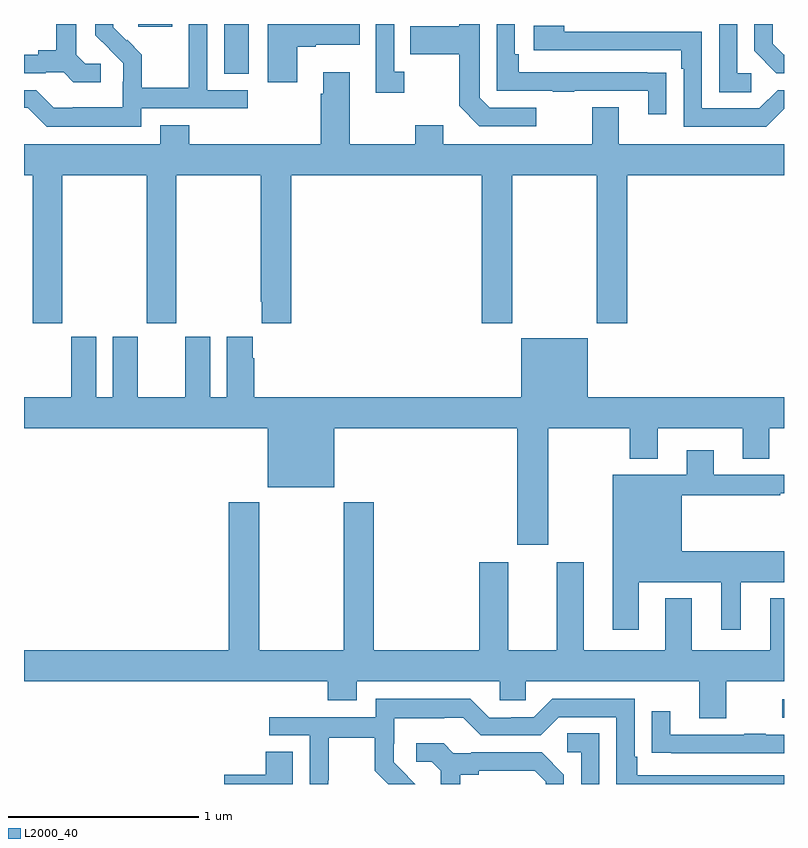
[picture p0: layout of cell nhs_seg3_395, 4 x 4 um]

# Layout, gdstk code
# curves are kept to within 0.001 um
import gdstk
lib = gdstk.Library(unit=1e-6, precision=1e-09)
def R(c, l, rs):  # rectangles x0, y0, x1, y1
    for r in rs: c.add(gdstk.rectangle(r[:2], r[2:], *l))
def P(c, l, *ps):  # polygons
    for p in ps: c.add(gdstk.Polygon(p, *l))
L2000_40 = (2000, 40)

nhs_seg3_395 = lib.new_cell('nhs_seg3_395')
R(nhs_seg3_395, L2000_40, [(134.991,676.749,135,676.845), (132.053,680.137,132.184,680.4), (131.6,680.385,131.779,680.4)])
P(nhs_seg3_395, L2000_40, [(132.439,680.279),(132.535,680.279),(132.535,680.291),(132.766,680.291),(132.766,680.4),(132.284,680.4),(132.284,680.094),(132.439,680.094)],
  [(134.827,680.142),(134.754,680.142),(134.754,680.4),(134.658,680.4),(134.658,680.041),(134.827,680.041)],
  [(131.404,680.19),(131.322,680.19),(131.275,680.237),(131.275,680.4),(131.171,680.4),(131.171,680.261),(131.075,680.261),(131.075,680.238),(131,680.238),(131,680.142),(131.114,680.142),(131.114,680.145),(131.208,680.145),(131.26,680.093),(131.404,680.093)],
  [(135,680.238),(134.998,680.238),(134.941,680.295),(134.941,680.4),(134.844,680.4),(134.844,680.258),(134.96,680.142),(135,680.142)],
  [(133,680.15),(132.948,680.15),(132.948,680.4),(132.852,680.4),(132.852,680.037),(133,680.037)],
  [(133.696,679.959),(133.452,679.959),(133.398,680.013),(133.398,680.4),(133.29,680.4),(133.29,680.389),(133.033,680.389),(133.033,680.242),(133.29,680.242),(133.29,679.969),(133.395,679.863),(133.696,679.863)],
  [(134.381,680.144),(134.279,680.144),(134.279,680.145),(133.604,680.145),(133.604,680.242),(133.584,680.242),(133.584,680.4),(133.488,680.4),(133.488,680.049),(133.783,680.049),(133.783,680.044),(133.895,680.044),(133.895,680.049),(134.285,680.049),(134.285,679.926),(134.381,679.926)],
  [(131.616,679.956),(132.178,679.956),(132.178,680.052),(131.964,680.052),(131.964,680.4),(131.868,680.4),(131.868,680.288),(131.866,680.288),(131.866,680.065),(131.621,680.065),(131.621,680.239),(131.544,680.316),(131.541,680.313),(131.471,680.384),(131.471,680.4),(131.376,680.4),(131.376,680.342),(131.522,680.194),(131.522,680.097),(131.52,680.097),(131.52,679.963),(131.257,679.963),(131.257,679.959),(131.157,679.959),(131.064,680.052),(131,680.052),(131,679.959),(131.019,679.959),(131.119,679.859),(131.616,679.859)],
  [(135,679.953),(135,680.052),(134.967,680.052),(134.871,679.956),(134.568,679.956),(134.568,680.358),(133.844,680.358),(133.844,680.392),(133.683,680.392),(133.683,680.262),(134.459,680.262),(134.459,680.165),(134.472,680.165),(134.472,679.86),(134.907,679.86)],
  [(131.202,679.604),(131.647,679.604),(131.647,678.825),(131.802,678.825),(131.802,679.604),(132.247,679.604),(132.247,678.937),(132.251,678.937),(132.251,678.825),(132.407,678.825),(132.407,679.604),(133.409,679.604),(133.409,678.825),(133.569,678.825),(133.569,679.604),(134.014,679.604),(134.014,678.825),(134.174,678.825),(134.174,679.604),(135,679.604),(135,679.768),(134.131,679.768),(134.131,679.963),(133.991,679.963),(133.991,679.768),(133.207,679.768),(133.207,679.867),(133.06,679.867),(133.06,679.768),(132.715,679.768),(132.715,680.146),(132.575,680.146),(132.575,680.033),(132.563,680.033),(132.563,679.768),(131.87,679.768),(131.87,679.867),(131.717,679.867),(131.717,679.768),(131,679.768),(131,679.604),(131.047,679.604),(131.047,678.825),(131.202,678.825)],
  [(133.759,678.272),(134.188,678.272),(134.188,678.113),(134.335,678.113),(134.335,678.272),(134.783,678.272),(134.783,678.112),(134.923,678.112),(134.923,678.272),(135,678.272),(135,678.436),(133.966,678.436),(133.966,678.745),(133.616,678.745),(133.616,678.436),(132.212,678.436),(132.212,678.641),(132.205,678.641),(132.205,678.754),(132.068,678.754),(132.068,678.436),(131.98,678.436),(131.98,678.754),(131.849,678.754),(131.849,678.436),(131.599,678.436),(131.599,678.754),(131.468,678.754),(131.468,678.436),(131.38,678.436),(131.38,678.754),(131.249,678.754),(131.249,678.436),(131,678.436),(131,678.272),(132.284,678.272),(132.284,677.963),(132.634,677.963),(132.634,678.272),(133.595,678.272),(133.595,677.658),(133.759,677.658)],
  [(134.236,677.462),(134.669,677.462),(134.669,677.211),(134.773,677.211),(134.773,677.462),(135,677.462),(135,677.626),(134.461,677.626),(134.461,677.919),(134.981,677.919),(134.981,677.931),(135,677.931),(135,678.027),(134.629,678.027),(134.629,678.157),(134.489,678.157),(134.489,678.028),(134.099,678.028),(134.099,677.211),(134.236,677.211)],
  [(134.695,676.94),(135,676.94),(135,677.377),(134.927,677.377),(134.927,677.104),(134.515,677.104),(134.515,677.377),(134.375,677.377),(134.375,677.104),(133.945,677.104),(133.945,677.566),(133.805,677.566),(133.805,677.104),(133.549,677.104),(133.549,677.566),(133.397,677.566),(133.397,677.104),(132.842,677.104),(132.842,677.884),(132.682,677.884),(132.682,677.104),(132.237,677.104),(132.237,677.884),(132.077,677.884),(132.077,677.104),(131,677.104),(131,676.94),(132.599,676.94),(132.599,676.841),(132.751,676.841),(132.751,676.94),(133.503,676.94),(133.503,676.842),(133.641,676.842),(133.641,676.94),(134.555,676.94),(134.555,676.746),(134.695,676.746)],
  [(132.6,676.42),(132.603,676.42),(132.603,676.644),(132.847,676.644),(132.847,676.469),(132.916,676.4),(133.058,676.4),(132.946,676.514),(132.946,676.611),(132.948,676.611),(132.948,676.745),(133.211,676.745),(133.211,676.749),(133.311,676.749),(133.404,676.656),(133.719,676.656),(133.815,676.752),(134.118,676.752),(134.118,676.4),(135,676.4),(135,676.446),(134.227,676.446),(134.227,676.543),(134.214,676.543),(134.214,676.848),(133.779,676.848),(133.683,676.752),(133.565,676.752),(133.565,676.749),(133.449,676.749),(133.349,676.849),(132.852,676.849),(132.852,676.752),(132.291,676.752),(132.291,676.656),(132.504,676.656),(132.504,676.4),(132.6,676.4)],
  [(135,676.659),(134.903,676.659),(134.903,676.664),(134.791,676.664),(134.791,676.659),(134.401,676.659),(134.401,676.783),(134.305,676.783),(134.305,676.564),(134.407,676.564),(134.407,676.563),(135,676.563)],
  [(134.028,676.667),(133.86,676.667),(133.86,676.566),(133.932,676.566),(133.932,676.4),(134.028,676.4)],
  [(133.297,676.448),(133.393,676.448),(133.393,676.47),(133.688,676.47),(133.745,676.413),(133.745,676.4),(133.842,676.4),(133.842,676.45),(133.726,676.566),(133.354,676.566),(133.354,676.563),(133.26,676.563),(133.208,676.615),(133.065,676.615),(133.065,676.518),(133.146,676.518),(133.193,676.471),(133.193,676.4),(133.297,676.4)],
  [(132.415,676.571),(132.272,676.571),(132.272,676.448),(132.054,676.448),(132.054,676.4),(132.415,676.4)])

lib.write_gds('nhs_seg3_395.gds')
